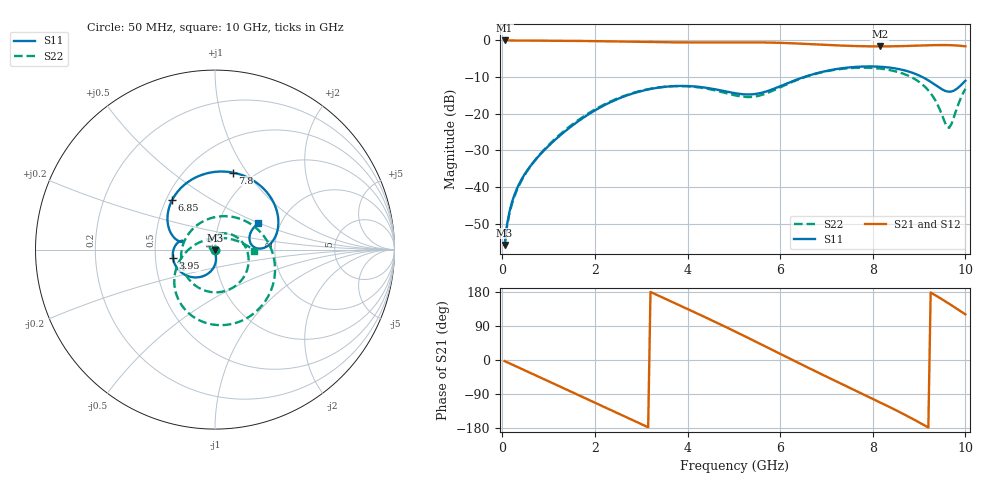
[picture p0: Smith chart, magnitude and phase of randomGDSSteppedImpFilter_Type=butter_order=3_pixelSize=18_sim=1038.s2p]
! freq	dB(S11)	phase(S11)	dB(S12)	phase(S12)
!  dB(S21)	phase(S21)	dB(S22)	phase(S22)
!S-par simulation data
#  GHz  S  DB  R 50
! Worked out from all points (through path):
!   200 points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, 50 MHz to 10 GHz, reference 50 ohm
!   highest |S21| = 0.00 dB at 50 MHz (marker M1); lowest = -1.6 dB at 8.15 GHz (marker M2)
!   group delay of S21, straight-line fit = 163 ps
!   lowest |S11| = -55.9 dB at 50 MHz (marker M3), VSWR 1.00, Z = 50.1 - j0.153 ohm
!   |S11| at or under -10 dB: start of sweep to 6.514 GHz; 9.071 GHz to end of sweep
!   |S22| runs from -56.2 to -7.4 dB; largest |S21 - S12| = 0
!   S11 on the Smith chart (normalised r, x): 50 MHz: 1.00, -0.00; 3.95 GHz: 0.62, -0.06; 6.85 GHz: 0.54, +0.34; 7.8 GHz: 0.81, +0.86; 10 GHz: 1.54, +0.49
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0.05  -55.85 -71.7  -0.00 -2.9  -0.00 -2.9  -56.17 -77.9
0.1  -50.48 -78.8  -0.01 -5.7  -0.01 -5.7  -50.92 -93.0
0.2  -44.55 -82.5  -0.02 -11.3  -0.02 -11.3  -45.02 -111.5
0.45  -37.21 -83.1  -0.04 -25.3  -0.04 -25.3  -37.47 -147.1
1.15  -27.02 -82.7  -0.08 -64.6  -0.08 -64.6  -26.75 131.0
1.75  -21.10 -91.1  -0.15 -98.5  -0.15 -98.5  -20.80 72.9
2.65  -15.21 -118.5  -0.32 -149.4  -0.32 -149.4  -15.05 -0.5
3.4  -12.83 -147.3  -0.48 168.4  -0.48 168.4  -12.78 -55.4
3.95  -12.43 -168.4  -0.54 137.4  -0.54 137.4  -12.49 -95.4
4.5  -13.12 173.6  -0.54 106.1  -0.54 106.1  -13.38 -139.6
5.05  -14.46 164.8  -0.50 73.9  -0.50 73.9  -15.06 164.0
5.9  -13.02 165.4  -0.62 22.4  -0.62 22.4  -13.39 56.1
6.3  -10.98 155.3  -0.80 -2.0  -0.80 -2.0  -11.13 17.8
6.7  -9.27 138.3  -1.03 -26.1  -1.03 -26.1  -9.35 -12.7
6.85  -8.76 130.9  -1.12 -35.0  -1.12 -35.0  -8.84 -22.8
7.35  -7.57 103.5  -1.41 -64.4  -1.41 -64.4  -7.74 -53.0
7.8  -7.12 77.2  -1.59 -90.7  -1.59 -90.7  -7.44 -77.6
8.15  -7.18 56.3  -1.63 -111.3  -1.63 -111.3  -7.68 -96.1
8.35  -7.40 44.4  -1.62 -123.3  -1.62 -123.3  -8.05 -106.8
9.1  -10.19 5.9  -1.36 -171.3  -1.36 -171.3  -12.34 -153.7
9.65  -14.00 13.5  -1.28 148.4  -1.28 148.4  -23.87 89.9
10  -11.00 31.1  -1.60 120.5  -1.60 120.5  -13.24 -1.5
